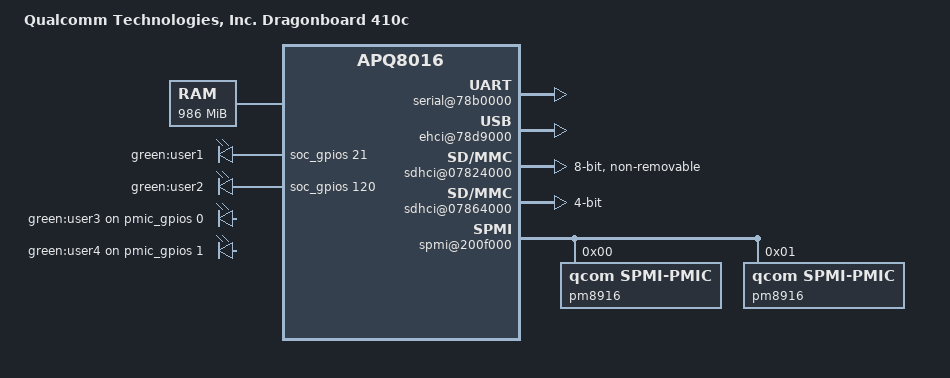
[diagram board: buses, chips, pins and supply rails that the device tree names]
/dts-v1/;

#include "skeleton64.dtsi"

/ {
	model = "Qualcomm Technologies, Inc. Dragonboard 410c";
	compatible = "qcom,dragonboard", "qcom,apq8016-sbc";
	qcom,msm-id = <0xce 0x0 0xf8 0x0 0xf9 0x0 0xfa 0x0 0xf7 0x0>;
	qcom,board-id = <0x10018 0x0>;
	#address-cells = <0x2>;
	#size-cells = <0x2>;

	memory {
		device_type = "memory";
		reg = <0 0x80000000 0 0x3da00000>;
	};

	chosen {
		stdout-path = "/soc/serial@78b0000";
	};


	soc {
		#address-cells = <0x1>;
		#size-cells = <0x1>;
		ranges = <0x0 0x0 0x0 0xffffffff>;
		compatible = "simple-bus";

		clkc: qcom,gcc@1800000 {
			compatible = "qcom,gcc-apq8016";
			reg = <0x1800000 0x80000>;
			#address-cells = <0x1>;
			#size-cells = <0x0>;
		};

		serial@78b0000 {
			compatible = "qcom,msm-uartdm-v1.4";
			reg = <0x78b0000 0x200>;
			u-boot,dm-pre-reloc;
			clock = <&clkc 4>;
		};

		restart@4ab000 {
			compatible = "qcom,pshold";
			reg = <0x4ab000 0x4>;
		};

		soc_gpios: pinctrl@1000000 {
			compatible = "qcom,apq8016-pinctrl";
			reg = <0x1000000 0x300000>;
			gpio-controller;
			gpio-count = <122>;
			gpio-bank-name="soc";
			#gpio-cells = <1>;
		};

		ehci@78d9000 {
			compatible = "qcom,ehci-host";
			reg = <0x78d9000 0x400>;
		};

		sdhci@07824000 {
			compatible = "qcom,sdhci-msm-v4";
			reg = <0x7824900 0x11c 0x7824000 0x800>;
			bus-width = <0x8>;
			index = <0x0>;
			non-removable;
			clock = <&clkc 0>;
			clock-frequency = <100000000>;
		};

		sdhci@07864000 {
			compatible = "qcom,sdhci-msm-v4";
			reg = <0x7864900 0x11c 0x7864000 0x800>;
			index = <0x1>;
			bus-width = <0x4>;
			clock = <&clkc 1>;
			clock-frequency = <200000000>;
		};

		spmi@200f000 {
			compatible = "qcom,spmi-pmic-arb";
			reg = <0x200f800 0x200 0x2400000 0x400000 0x2c00000 0x400000>;
			#address-cells = <0x1>;
			#size-cells = <0x1>;
			pm8916@0 {
				compatible = "qcom,spmi-pmic";
				reg = <0x0 0x1>;
				#address-cells = <0x1>;
				#size-cells = <0x1>;

				pmic_pon: pon@800 {
					compatible = "qcom,pm8916-pwrkey";
					reg = <0x800 0x96>;
					#gpio-cells = <2>;
					gpio-controller;
				};

				pmic_gpios: gpios@c000 {
					compatible = "qcom,pm8916-gpio";
					reg = <0xc000 0x400>;
					gpio-controller;
					gpio-count = <4>;
					#gpio-cells = <2>;
					gpio-bank-name="pmic";
				};
			};

			pm8916@1 {
				compatible = "qcom,spmi-pmic";
				reg = <0x1 0x1>;
			};
		};
	};

	leds {
		compatible = "gpio-leds";
		user1 {
			label = "green:user1";
			gpios = <&soc_gpios 21 0>;
		};

		user2 {
			label = "green:user2";
			gpios = <&soc_gpios 120 0>;
		};

		user3 {
			label = "green:user3";
			gpios = <&pmic_gpios 0 0>;
		};

		user4 {
			label = "green:user4";
			gpios = <&pmic_gpios 1 0>;
		};
	};

	usb_hub_reset_n_pm {
		gpios = <&pmic_gpios 2 0>;
	};

	usb_sw_sel_pm {
		gpios = <&pmic_gpios 3 0>;
	};

	key_vol_down {
		gpios = <&pmic_pon 1 0>;
	};

	key_power {
		gpios = <&pmic_pon 0 0>;
	};
};
